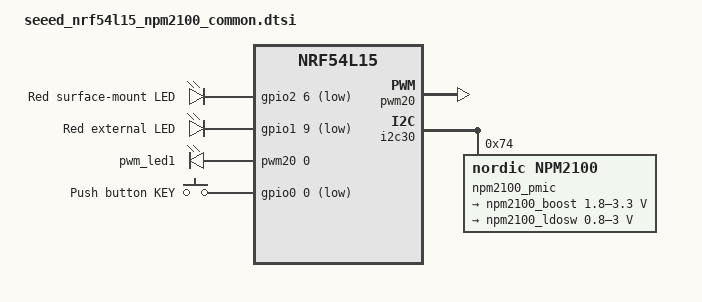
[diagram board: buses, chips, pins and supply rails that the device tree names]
/*
 * Copyright (c) 2024 Nordic Semiconductor ASA
 *
 * SPDX-License-Identifier: Apache-2.0
 */

#include "seeed_nrf54l15_npm2100_nrf54l_05_10_15-pinctrl.dtsi"

/ {
	leds {
		compatible = "gpio-leds";

		led0: led_0 {
			gpios = <&gpio2 6 (GPIO_ACTIVE_LOW | GPIO_PULL_UP)>;
			label = "Red surface-mount LED";
		};

		led1: led_1 {
			gpios = <&gpio1 9 (GPIO_ACTIVE_LOW | GPIO_PULL_UP | NRF_DRIVE_E0E1)>;
			label = "Red external LED";
		};
	};

	pwmleds {
		compatible = "pwm-leds";

		pwm_led1: pwm_led_1 {
			pwms = <&pwm20 0 PWM_MSEC(20) PWM_POLARITY_INVERTED>;
		};
	};

	buttons {
		compatible = "gpio-keys";

		button0: button_0 {
			gpios = <&gpio0 0 (GPIO_PULL_UP | GPIO_ACTIVE_LOW)>;
			label = "Push button KEY";
			zephyr,code = <INPUT_KEY_0>;
		};
	};

	aliases {
		led0 = &led0;
		pwm-led0 = &pwm_led1;
		sw0 = &button0;
		watchdog0 = &wdt31;
	};
};

&pwm20 {
	status = "okay";
	pinctrl-0 = <&pwm20_default>;
	pinctrl-1 = <&pwm20_sleep>;
	pinctrl-names = "default", "sleep";
};

&i2c30 {
	status = "okay";
	pinctrl-0 = <&i2c30_default>;
	pinctrl-1 = <&i2c30_sleep>;
	pinctrl-names = "default", "sleep";

	npm2100_pmic: pmic@74 {
		compatible = "nordic,npm2100";
		reg = <0x74>;

		npm2100_gpio: gpio-controller {
			compatible = "nordic,npm2100-gpio";
			gpio-controller;
			#gpio-cells = <2>;
			ngpios = <2>;
		};

		npm2100_regulators: regulators {
			compatible = "nordic,npm2100-regulator";

			npm2100_boost: BOOST {
				regulator-min-microvolt = <1800000>;
				regulator-max-microvolt = <3300000>;
				/* boost is always on by design */
				regulator-always-on;
			};

			npm2100_ldosw: LDOSW {
				regulator-min-microvolt = <800000>;
				regulator-max-microvolt = <3000000>;
			};
		};

		npm2100_wdt: watchdog {
			compatible = "nordic,npm2100-wdt";
		};

		npm2100_vbat: vbat {
			compatible = "nordic,npm2100-vbat";
		};
	};
};

/* DISABLED NODES */

&uart20 {
	status = "disabled";
	current-speed = <115200>;
	pinctrl-0 = <&uart20_default>;
	pinctrl-1 = <&uart20_sleep>;
	pinctrl-names = "default", "sleep";
};

&uart30 {
	status = "disabled";
	current-speed = <115200>;
	pinctrl-0 = <&uart30_default>;
	pinctrl-1 = <&uart30_sleep>;
	pinctrl-names = "default", "sleep";
};

&hfxo {
	status = "disabled";
	startup-time-us = <854>;
};
